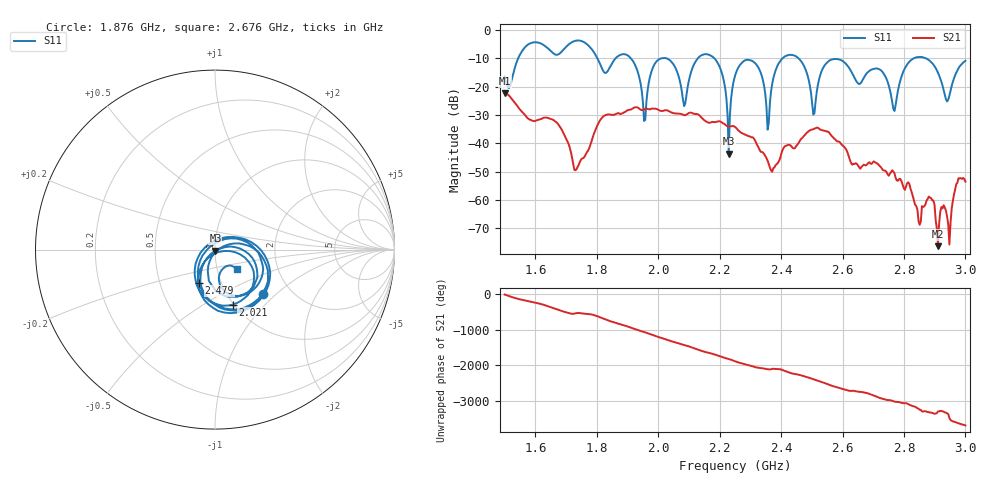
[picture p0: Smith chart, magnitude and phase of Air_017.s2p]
# HZ S RI R 50
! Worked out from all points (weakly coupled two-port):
!   404 points, 1.5 GHz to 3 GHz, reference 50 ohm
!   highest |S21| = -22.27 dB at 1.5 GHz (marker M1); lowest = -76.4 dB at 2.911 GHz (marker M2)
!   lowest |S11| = -43.7 dB at 2.23 GHz (marker M3), VSWR 1.01, Z = 50.3 - j0.602 ohm
!   |S11| at or under -10 dB: 2.183 GHz to 2.404 GHz (221.1 MHz wide, 9.64 % of centre); 2.457 GHz to 2.831 GHz (374.2 MHz wide, 14.2 % of centre); 2.873 GHz to end of sweep (the widest 3 of 7)
!   S12 and S22 are empty: the file has one direction only
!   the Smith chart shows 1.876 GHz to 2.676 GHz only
!   S11 on the Smith chart (normalised r, x): 1.876 GHz: 1.45, -0.83; 2.021 GHz: 0.99, -0.68; 2.479 GHz: 0.78, -0.30; 2.676 GHz: 1.24, -0.28
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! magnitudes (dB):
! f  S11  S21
! 1.5 GHz  -16.5  -22.3
! 1.582 GHz  -4.7  -31.6
! 1.753 GHz  -3.9  -45.4
! 1.876 GHz  -8.8  -29.7
! 1.954 GHz  -32.1  -28.1
! 2.002 GHz  -10.3  -28.3
! 2.021 GHz  -9.8  -28.3
! 2.084 GHz  -26.9  -30.0
! 2.181 GHz  -9.8  -32.5
! 2.23 GHz  -43.7  -34.1
! 2.252 GHz  -15.5  -34.4
! 2.319 GHz  -12.0  -39.9
! 2.356 GHz  -35.2  -46.1
! 2.404 GHz  -10.0  -42.4
! 2.479 GHz  -13.7  -36.9
! 2.501 GHz  -25.9  -35.2
! 2.561 GHz  -10.6  -36.9
! 2.676 GHz  -15.6  -47.8
! 2.751 GHz  -19.6  -51.5
! 2.911 GHz  -15.0  -76.4
! 2.94 GHz  -25.2  -65.9
! 3 GHz  -10.8  -53.6
